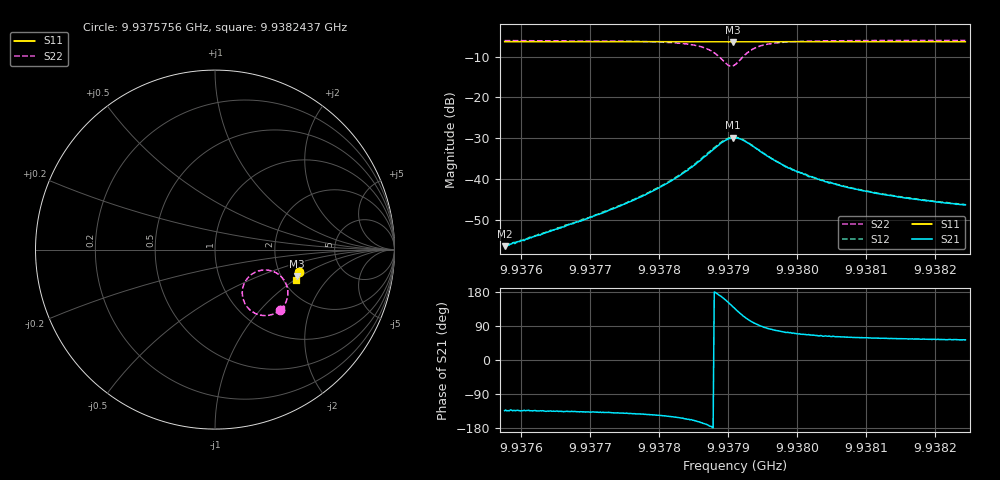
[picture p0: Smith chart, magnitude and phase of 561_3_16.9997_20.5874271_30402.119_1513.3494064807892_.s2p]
#  HZ  S  RI  R  50.00
! Rohde & Schwarz Vector Network Analyzer
! Rohde-Schwarz,ZNB20-2Port,1311601062101988,3.16
! Created: UTC 3/20/2024, 11:17:13 PM
! freq[Hz]  re:S11  im:S11  re:S21  im:S21  re:S12  im:S12  re:S22  im:S22
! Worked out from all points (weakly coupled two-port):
!   401 points, 9.9375756 GHz to 9.9382437 GHz, reference 50 ohm
!   highest |S21| = -29.89 dB at 9.9379063 GHz (marker M1); lowest = -56.4 dB at 9.9375756 GHz (marker M2)
!   lowest |S11| = -6.4 dB at 9.9379063 GHz (marker M3), VSWR 2.83, Z = 121 - j45.8 ohm
!   |S11| at or under -10 dB: nowhere
!   |S22| runs from -12.3 to -6.1 dB; largest |S21 - S12| = 0.0014
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9.93757556e9  0.4655 -0.1264  -0.00105 -0.00109  -0.00105 -0.00111  0.3643 -0.336
9.93768747e9  0.463 -0.1341  -0.00227 -0.00214  -0.00237 -0.00216  0.3477 -0.3479
9.93775095e9  0.4612 -0.1383  -0.00388 -0.00319  -0.00399 -0.00315  0.3303 -0.3569
9.93779939e9  0.4597 -0.1417  -0.00648 -0.0044  -0.00668 -0.00433  0.3053 -0.3651
9.9378378e9  0.4583 -0.1444  -0.0112 -0.00515  -0.0116 -0.00513  0.2648 -0.3668
9.93785451e9  0.4574 -0.1456  -0.0151 -0.00492  -0.0154 -0.00468  0.2343 -0.3596
9.93786787e9  0.4566 -0.1464  -0.0191 -0.00351  -0.0196 -0.00322  0.2019 -0.3417
9.93787956e9  0.4556 -0.1467  -0.0236 0.000203  -0.0243 0.000758  0.1707 -0.307
9.93789126e9  0.4547 -0.1468  -0.0274 0.00707  -0.0279 0.00804  0.152 -0.245
9.93789961e9  0.4543 -0.1465  -0.0275 0.0144  -0.0275 0.0155  0.1632 -0.1882
9.93790629e9  0.4542 -0.1462  -0.0249 0.0201  -0.0247 0.0212  0.1929 -0.1471
9.93790963e9  0.4545 -0.1461  -0.0226 0.0225  -0.0224 0.0237  0.2136 -0.1317
9.93791798e9  0.4551 -0.1459  -0.0163 0.0264  -0.0155 0.0273  0.2713 -0.1139
9.93792967e9  0.4556 -0.1466  -0.00724 0.0264  -0.0064 0.0268  0.3395 -0.1288
9.93794638e9  0.4562 -0.1479  2.99e-06 0.0218  0.000524 0.022  0.3882 -0.1754
9.93796308e9  0.4564 -0.1494  0.00285 0.0175  0.00335 0.0174  0.4035 -0.2147
9.9379848e9  0.4559 -0.1513  0.00415 0.0135  0.00441 0.0134  0.406 -0.2488
9.93802154e9  0.4552 -0.1541  0.00433 0.00962  0.00458 0.00968  0.4 -0.2808
9.93806664e9  0.4538 -0.1573  0.00398 0.00713  0.00415 0.00712  0.3912 -0.3015
9.93813346e9  0.4522 -0.1617  0.00348 0.00528  0.00359 0.00531  0.3813 -0.3185
9.93818357e9  0.4506 -0.1651  0.00314 0.00449  0.00329 0.0045  0.3753 -0.3263
9.9382437e9  0.449 -0.169  0.0029 0.00388  0.00298 0.00387  0.3691 -0.3336
